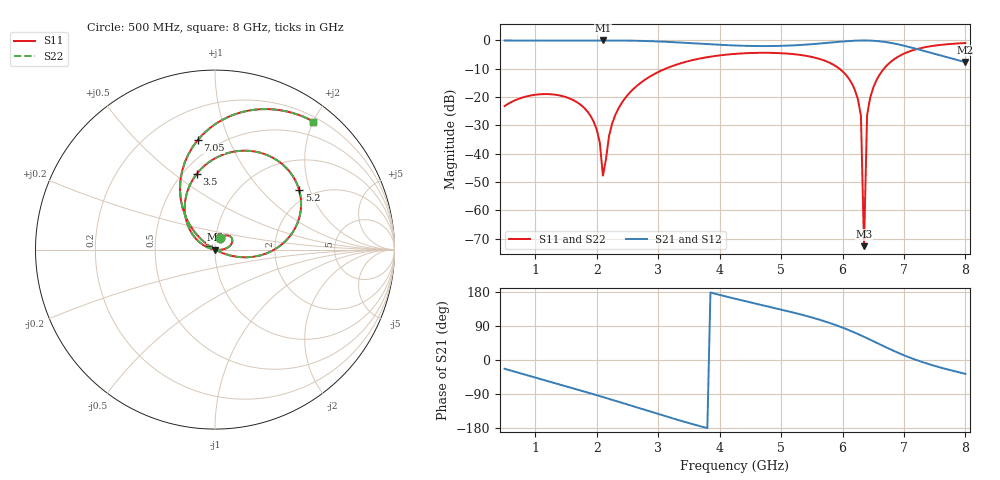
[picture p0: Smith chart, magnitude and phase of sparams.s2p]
! NobuRF pozar-ex3.5-stripline-short: ports 1 "p1", 2 "p2"; 39800 + 39800 steps
# GHz S RI R 50
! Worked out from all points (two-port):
!   151 points, 500 MHz to 8 GHz, reference 50 ohm
!   highest |S21| = 0.00 dB at 2.1 GHz (marker M1); lowest = -7.6 dB at 8 GHz (marker M2)
!   |S21| within 3 dB of the highest: start of sweep to 7.208 GHz
!   lowest |S11| = -72.6 dB at 6.35 GHz (marker M3), VSWR 1.00, Z = 50 + j0.0158 ohm
!   |S11| at or under -10 dB: start of sweep to 3.116 GHz; 5.951 GHz to 6.674 GHz (722.3 MHz wide, 11.4 % of centre)
!   |S22| runs from -72.7 to -0.9 dB; largest |S21 - S12| = 1.6e-07
!   S11 on the Smith chart (normalised r, x): 500 MHz: 1.05, +0.13; 3.5 GHz: 0.58, +0.61; 5.2 GHz: 1.71, +1.69; 7.05 GHz: 0.39, +0.77; 8 GHz: 0.27, +2.00
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0.5  0.0274 0.064  0.9169 -0.3929  0.9169 -0.3929  0.0274 0.064
1.15  0.0905 0.068  0.597 -0.7942  0.597 -0.7942  0.0905 0.068
1.75  0.0706 0.0113  0.1577 -0.9849  0.1577 -0.9849  0.0706 0.0113
2  0.0265 -0.00131  -0.0495 -0.9984  -0.0495 -0.9984  0.0265 -0.00131
2.05  0.0156 -0.00143  -0.0916 -0.9957  -0.0916 -0.9957  0.0156 -0.00143
2.1  0.00408 -0.00055  -0.1338 -0.991  -0.1338 -0.991  0.00408 -0.00055
2.2  -0.0203 0.00452  -0.2178 -0.9758  -0.2178 -0.9758  -0.0203 0.00452
2.35  -0.0585 0.0213  -0.3413 -0.9379  -0.3413 -0.9379  -0.0585 0.0213
3  -0.1684 0.22  -0.7629 -0.5842  -0.7629 -0.5842  -0.1684 0.22
3.5  -0.1013 0.4223  -0.8759 -0.2101  -0.8759 -0.2101  -0.1013 0.4223
4.25  0.1813 0.5507  -0.7739 0.2548  -0.7739 0.2548  0.1813 0.5507
5.2  0.4691 0.3312  -0.4722 0.6687  -0.4722 0.6687  0.4691 0.3312
5.5  0.4736 0.1943  -0.326 0.7947  -0.326 0.7947  0.4736 0.1943
6  0.2846 -0.022  0.074 0.9553  0.074 0.9553  0.2846 -0.022
6.25  0.0856 -0.0333  0.3619 0.9273  0.3619 0.9273  0.0856 -0.0333
6.3  0.0425 -0.0196  0.4217 0.9051  0.4217 0.9051  0.0425 -0.0196
6.35  0.000174 0.000158  0.4804 0.8765  0.4804 0.8765  0.000172 0.000156
6.4  -0.0403 0.026  0.5368 0.8417  0.5368 0.8417  -0.0403 0.026
6.5  -0.1117 0.0952  0.6391 0.7541  0.6391 0.7541  -0.1117 0.0952
6.75  -0.1951 0.3352  0.7946 0.4647  0.7946 0.4647  -0.1951 0.3352
7.05  -0.0972 0.6093  0.7745 0.1257  0.7745 0.1257  -0.0972 0.6093
8  0.5484 0.7133  0.333 -0.2479  0.333 -0.2479  0.5484 0.7133
